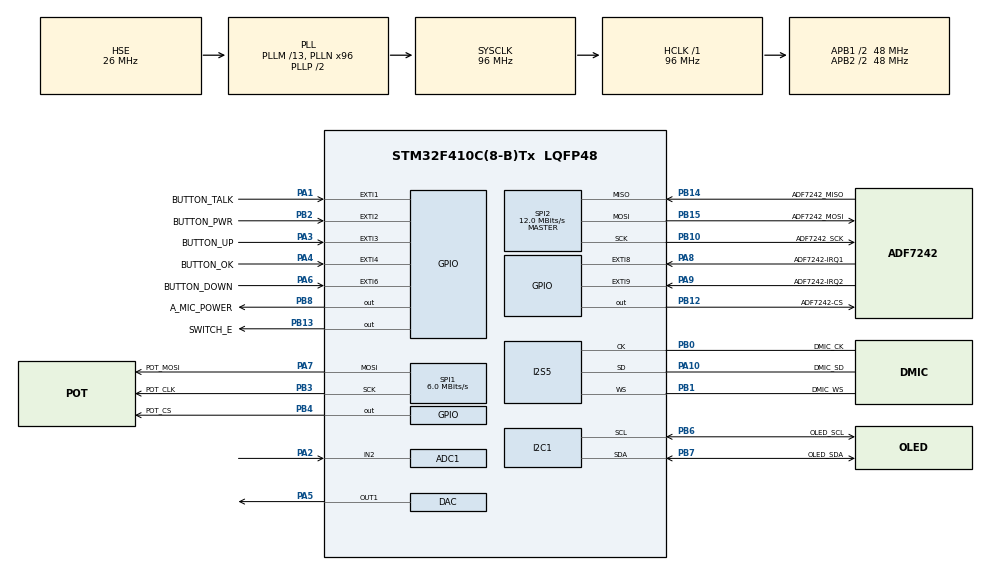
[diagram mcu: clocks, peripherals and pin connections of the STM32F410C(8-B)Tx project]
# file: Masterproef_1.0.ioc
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ADC1.Channel-0\#ChannelRegularConversion=ADC_CHANNEL_2
ADC1.ClockPrescaler=ADC_CLOCK_SYNC_PCLK_DIV2
ADC1.ExternalTrigConv=ADC_EXTERNALTRIGCONV_T5_CC1
ADC1.ExternalTrigConvEdge=ADC_EXTERNALTRIGCONVEDGE_RISING
ADC1.NbrOfConversion=1
ADC1.NbrOfConversionFlag=1
ADC1.Rank-0\#ChannelRegularConversion=1
ADC1.Resolution=ADC_RESOLUTION_8B
ADC1.SamplingTime-0\#ChannelRegularConversion=ADC_SAMPLETIME_3CYCLES
ADC1.master=1
I2C1.I2C_Mode=I2C_Fast
I2S5.ErrorAudioFreq=0.0 %
I2S5.FullDuplexMode=I2S_FULLDUPLEXMODE_DISABLE
I2S5.Instance=SPI$Index
I2S5.RealAudioFreq=8.0 KHz
I2S5.VirtualMode=I2S_MODE_MASTER
Mcu.Family=STM32F4
Mcu.Name=STM32F410C(8-B)Tx
Mcu.Package=LQFP48
NVIC.ADC_IRQn=true\:0\:0\:true\:false\:true\:true\:true
NVIC.EXTI1_IRQn=true\:15\:0\:true\:false\:true\:true\:true
NVIC.EXTI2_IRQn=true\:15\:0\:true\:false\:true\:true\:true
NVIC.EXTI3_IRQn=true\:0\:0\:false\:false\:true\:true\:true
NVIC.EXTI4_IRQn=true\:0\:0\:false\:false\:true\:true\:true
NVIC.EXTI9_5_IRQn=true\:1\:0\:true\:false\:true\:true\:true
NVIC.I2C1_ER_IRQn=true\:0\:0\:false\:false\:true\:true\:true
NVIC.I2C1_EV_IRQn=true\:0\:0\:false\:false\:true\:true\:true
NVIC.PriorityGroup=NVIC_PRIORITYGROUP_4
NVIC.SPI2_IRQn=true\:0\:0\:false\:false\:true\:true\:true
NVIC.TIM1_BRK_TIM9_IRQn=true\:0\:0\:true\:false\:true\:true\:true
NVIC.TIM1_TRG_COM_TIM11_IRQn=true\:1\:0\:true\:false\:true\:true\:true
NVIC.TIM1_UP_IRQn=true\:0\:0\:true\:false\:true\:true\:true
NVIC.TIM5_IRQn=true\:0\:0\:true\:false\:true\:true\:true
NVIC.TIM6_DAC_IRQn=true\:1\:0\:true\:false\:true\:true\:true
PA0-WKUP.Mode=SYS_WakeUp0
PA0-WKUP.Signal=SYS_WKUP1
PA1.GPIO_Label=BUTTON_TALK
PA1.GPIO_ModeDefaultEXTI=GPIO_MODE_IT_RISING_FALLING
PA1.Signal=GPXTI1
PA10.GPIO_Label=DMIC_SD
PA10.Mode=Half_Duplex_Master
PA10.Signal=I2S5_SD
PA2.Signal=ADCx_IN2
PA3.GPIO_Label=BUTTON_UP
PA3.Signal=GPXTI3
PA4.GPIO_Label=BUTTON_OK
PA4.Signal=GPXTI4
PA5.Signal=COMP_DAC1_group
PA6.GPIO_Label=BUTTON_DOWN
PA6.Signal=GPXTI6
PA7.GPIO_Label=POT_MOSI
PA7.Mode=TX_Only_Simplex_Unidirect_Master
PA7.Signal=SPI1_MOSI
PA8.GPIO_Label=ADF7242-IRQ1
PA8.Signal=GPXTI8
PA9.GPIO_Label=ADF7242-IRQ2
PA9.Signal=GPXTI9
PB0.GPIO_Label=DMIC_CK
PB0.Mode=Half_Duplex_Master
PB0.Signal=I2S5_CK
PB1.GPIO_Label=DMIC_WS
PB1.Mode=Half_Duplex_Master
PB1.Signal=I2S5_WS
PB10.GPIO_Label=ADF7242_SCK
PB10.Mode=Full_Duplex_Master
PB10.Signal=SPI2_SCK
PB12.GPIO_Label=ADF7242-CS
PB12.Signal=GPIO_Output
PB13.GPIO_Label=SWITCH_E
PB13.PinState=GPIO_PIN_SET
PB13.Signal=GPIO_Output
PB14.GPIO_Label=ADF7242_MISO
PB14.Mode=Full_Duplex_Master
PB14.Signal=SPI2_MISO
PB15.GPIO_Label=ADF7242_MOSI
PB15.Mode=Full_Duplex_Master
PB15.Signal=SPI2_MOSI
PB2.GPIO_Label=BUTTON_PWR
PB2.GPIO_ModeDefaultEXTI=GPIO_MODE_IT_RISING
PB2.Signal=GPXTI2
PB3.GPIO_Label=POT_CLK
PB3.Mode=TX_Only_Simplex_Unidirect_Master
PB3.Signal=SPI1_SCK
PB4.GPIO_Label=POT_CS
PB4.PinState=GPIO_PIN_SET
PB4.Signal=GPIO_Output
PB6.GPIO_Label=OLED_SCL
PB6.Mode=I2C
PB6.Signal=I2C1_SCL
PB7.GPIO_Label=OLED_SDA
PB7.Mode=I2C
PB7.Signal=I2C1_SDA
PB8.GPIO_Label=A_MIC_POWER
PB8.PinState=GPIO_PIN_SET
PB8.Signal=GPIO_Output
PC14-OSC32_IN.Mode=LSE-External-Oscillator
PC14-OSC32_IN.Signal=RCC_OSC32_IN
PC15-OSC32_OUT.Mode=LSE-External-Oscillator
PC15-OSC32_OUT.Signal=RCC_OSC32_OUT
PH0\ -\ OSC_IN.Mode=HSE-External-Oscillator
PH0\ -\ OSC_IN.Signal=RCC_OSC_IN
PH1\ -\ OSC_OUT.Mode=HSE-External-Oscillator
PH1\ -\ OSC_OUT.Signal=RCC_OSC_OUT
ProjectManager.HeapSize=0x200
ProjectManager.StackSize=0x400
ProjectManager.TargetToolchain=STM32CubeIDE
RCC.48MHZClocksFreq_Value=48000000
RCC.AHBFreq_Value=96000000
RCC.APB1CLKDivider=RCC_HCLK_DIV2
RCC.APB1Freq_Value=48000000
RCC.APB1TimFreq_Value=96000000
RCC.APB2CLKDivider=RCC_HCLK_DIV2
RCC.APB2Freq_Value=48000000
RCC.APB2TimFreq_Value=96000000
RCC.CortexFreq_Value=96000000
RCC.HCLKFreq_Value=96000000
RCC.HSE_VALUE=26000000
RCC.HSI_VALUE=16000000
RCC.PLLM=13
RCC.PLLN=96
RCC.PLLSourceVirtual=RCC_PLLSOURCE_HSE
RCC.RCC_RTC_Clock_Source=RCC_RTCCLKSOURCE_LSE
RCC.RCC_RTC_Clock_SourceVirtual=RCC_RTCCLKSOURCE_LSE
RCC.SYSCLKFreq_VALUE=96000000
RCC.SYSCLKSource=RCC_SYSCLKSOURCE_PLLCLK
RCC.VCOOutputFreq_Value=192000000
RTC.Date=24
RTC.Format=RTC_FORMAT_BIN
RTC.Hours=12
RTC.Minutes=59
RTC.Month=RTC_MONTH_APRIL
RTC.Seconds=0
RTC.WeekDay=RTC_WEEKDAY_FRIDAY
RTC.Year=0
SH.ADCx_IN2.0=ADC1_IN2,IN2
SH.COMP_DAC1_group.0=DAC_OUT1,DAC_OUT1
SPI1.BaudRatePrescaler=SPI_BAUDRATEPRESCALER_8
SPI1.CalculateBaudRate=6.0 MBits/s
SPI1.Direction=SPI_DIRECTION_2LINES
SPI1.Mode=SPI_MODE_MASTER
SPI1.VirtualType=VM_MASTER
SPI2.BaudRatePrescaler=SPI_BAUDRATEPRESCALER_4
SPI2.CalculateBaudRate=12.0 MBits/s
SPI2.Direction=SPI_DIRECTION_2LINES
SPI2.Mode=SPI_MODE_MASTER
SPI2.VirtualType=VM_MASTER
TIM1.Period=12000
TIM1.Prescaler=0
TIM1.TIM_MasterOutputTrigger=TIM_TRGO_UPDATE
TIM11.AutoReloadPreload=TIM_AUTORELOAD_PRELOAD_ENABLE
TIM11.Period=500
TIM11.Prescaler=48000
TIM5.Channel-Output\ Compare1\ No\ Output=TIM_CHANNEL_1
TIM5.OCMode_1=TIM_OCMODE_TOGGLE
TIM5.Period=3000
TIM5.Prescaler=0
TIM5.Pulse-Output\ Compare1\ No\ Output=3000
TIM5.TIM_MasterOutputTrigger=TIM_TRGO_OC1REF
TIM5.TIM_MasterSlaveMode=TIM_MASTERSLAVEMODE_ENABLE
TIM9.AutoReloadPreload=TIM_AUTORELOAD_PRELOAD_ENABLE
TIM9.ClockDivision=TIM_CLOCKDIVISION_DIV1
TIM9.Period=2000
TIM9.Prescaler=48000
VP_CRC_VS_CRC.Mode=CRC_Activate
VP_RTC_VS_RTC_Activate.Mode=RTC_Enabled
VP_RTC_VS_RTC_Calendar.Mode=RTC_Calendar
VP_TIM11_VS_ClockSourceINT.Mode=Enable_Timer
VP_TIM1_VS_ClockSourceINT.Mode=Internal
VP_TIM5_VS_ClockSourceINT.Mode=Internal
VP_TIM5_VS_no_output1.Mode=Output Compare1 No Output
VP_TIM9_VS_ClockSourceINT.Mode=Internal
board=custom

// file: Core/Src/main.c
/* USER CODE BEGIN Header */
/**
  ******************************************************************************
  * @file           : main.c
  * @brief          : Main program body
  ******************************************************************************
  * @attention
  *
  * <h2><center>&copy; Copyright (c) 2019 STMicroelectronics.
  * All rights reserved.</center></h2>
  *
  * This software component is licensed by ST under BSD 3-Clause license,
  * the "License"; You may not use this file except in compliance with the
  * License. You may obtain a copy of the License at:
  *                        opensource.org/licenses/BSD-3-Clause
  *
  ******************************************************************************
  */
/* USER CODE END Header */

#include "main.h"

ADC_HandleTypeDef hadc1;

CRC_HandleTypeDef hcrc;

DAC_HandleTypeDef hdac;

I2C_HandleTypeDef hi2c1;

I2S_HandleTypeDef hi2s5;

RTC_HandleTypeDef hrtc;

SPI_HandleTypeDef hspi1;
SPI_HandleTypeDef hspi2;

TIM_HandleTypeDef htim1;
TIM_HandleTypeDef htim5;
TIM_HandleTypeDef htim9;
TIM_HandleTypeDef htim11;

/* USER CODE BEGIN PV */

RTC_TimeTypeDef sTime;
RTC_DateTypeDef sDate;

/* Default Settings */
char settingsMode = 'R';
uint8_t settingsVolume = 70;					// Potentiometer for volume
uint8_t settingsDataLength = 20;				// Databytes in audio packet
uint8_t settingsResolution = 8;					// 8 or 12 (ADC resolution)
uint8_t settingsEncryption = 1;					// 0 = off, 1 = on
uint32_t settingsFrequency = 245000;			// Frequency in kHz

/* General variables */
uint16_t adcVal;
uint16_t adcValDownSampled;

/* Debug variables */
uint8_t returnValue;
uint32_t counter;
uint32_t Packets_Received;
uint32_t Packets_Send;

//debug
uint8_t KeyCounter;
uint8_t KeyCounterLength = 5;
uint8_t TxKeys[5];
uint8_t RxKeys[5];
uint8_t RxKeysAfterHamming[5];
uint8_t TxRSSIValues[8];
uint8_t TxRSSIMeanValues[8];
uint8_t RxRSSIValues[8];
uint8_t RxRSSIMeanValues[8];
uint32_t TxCounterTable[8];
uint32_t RxCounterTable[8];

/* External interrupts */
uint8_t INT_PACKET_RECEIVED = 0;
uint8_t INT_PACKET_SEND = 0;

/* Tx variables */
cbuf_handle_t Tx_buffer_handle_t;
uint8_t TX_BUFFER_BASE;

/* Rx variables */
cbuf_handle_t Rx_buffer_handle_t;
uint8_t RX_BUFFER_BASE;
uint8_t Rx_Pkt_length;
uint8_t Rx_Pkt_type;
uint8_t Rx_Data_length;
uint8_t Rx_Encryption_byte;
uint8_t Rx_Dummy_byte;
uint8_t Rx_CRC_response;

/* Encryption variables */
uint32_t Tx_RSSI_counter;
uint32_t RSSI_counter;
uint16_t Key_RSSI_Mean;
double Key_RSSI_Mean_Double;
uint32_t Key_32bit_Array[4] = {0xAAAAAAAA, 0xAAAAAAAA, 0xAAAAAAAA, 0xAAAAAAAA};
uint32_t Key_32bit = 0xAAAAAAAA;
uint8_t Key_Start = 0xAA;
uint8_t Key_Current;
uint8_t Key_New;
uint8_t Key_bits;
uint8_t Key_bytes = 0;
uint8_t Key_RSSI_Threshold = 3;
uint8_t Encryption_byte;
uint8_t Key_chosen_wait_timer;
double ALPHA = 0.1;
uint32_t KeyCounter32bit;
uint8_t Key_32bit_Array_Index;

uint32_t Old_Key_32bit;
uint8_t Old_Key_32bit_index;

uint32_t CRC_Tx_value;
uint8_t CRC_Tx_bytes[4];

uint32_t CRC_Rx_value;
uint8_t CRC_Rx_bytes[4];

/* Button states */
static volatile POWER_state = 1;
static volatile TALK_state = 1;
static volatile UP_state = 1;
static volatile DOWN_state = 1;

/* USER CODE END PV */

void SystemClock_Config(void);
static void MX_GPIO_Init(void);
static void MX_DAC_Init(void);
static void MX_I2C1_Init(void);
static void MX_I2S5_Init(void);
static void MX_SPI1_Init(void);
static void MX_SPI2_Init(void);
static void MX_ADC1_Init(void);
static void MX_TIM5_Init(void);
static void MX_TIM1_Init(void);
static void MX_TIM9_Init(void);
static void MX_RTC_Init(void);
static void MX_CRC_Init(void);
static void MX_TIM11_Init(void);
/* USER CODE BEGIN PFP */

void HAL_GPIO_EXTI_Callback(uint16_t);
void HAL_TIM_PeriodElapsedCallback(TIM_HandleTypeDef *);
void HAL_ADC_ConvCpltCallback(ADC_HandleTypeDef *);

/* Basic functions */
void Startup(void);
void Setup();
void Potmeter_Init(uint8_t);

/* Audio functions */
void Play_Audio(void);
void SendPacket8bit(void);
void ReadPacket(void);

/* Encryption functions */
uint8_t ReadKeyPacket(void);
void WriteKeyPacket(void);
uint8_t ReadRSSI(void);
void Hamming_send(uint8_t);
void Hamming_check(uint8_t);
void CRC_send(void);
void CRC_check(void);

/* EEPROM functions */
void Clear_Flash_Sector4(void);
void Write_Flash(uint32_t, uint32_t);

/* USER CODE END PFP */

/* USER CODE BEGIN 0 */

/* Callback external interrupts */
void HAL_GPIO_EXTI_Callback(uint16_t GPIO_Pin)
{
	switch(GPIO_Pin)
	{
		case ADF7242_IRQ1_Pin:
			INT_PACKET_SEND = 1;
			ADF_clear_Tx_flag();
			Packets_Send++;

			break;

		case ADF7242_IRQ2_Pin:
			INT_PACKET_RECEIVED = 1;
			ADF_clear_Rx_flag();
			Packets_Received++;

			break;

		case BUTTON_TALK_Pin:
			if (TALK_state)
			{
				TALK_state = 0;
				HAL_TIM_Base_Start_IT(&htim11);
			}

			break;

		case BUTTON_UP_Pin:
			if (UP_state)
			{
				UP_state = 0;
				HAL_TIM_Base_Start_IT(&htim11);
			}

			break;

		case BUTTON_DOWN_Pin:
			if (DOWN_state)
			{
				DOWN_state = 0;
				HAL_TIM_Base_Start_IT(&htim11);
			}

			break;

		case BUTTON_PWR_Pin:
			if (POWER_state)
			{
				POWER_state = 0;
				HAL_TIM_Base_Start_IT(&htim11);
			}

			break;
	}
}

/* Callback timers */
void HAL_TIM_PeriodElapsedCallback(TIM_HandleTypeDef *htim)
{
	// Play audio samples on DAC
	if (htim->Instance == TIM1)
	{
		Play_Audio();
	}

	// Timer debouncing for external interrupts
	if (htim->Instance == TIM11)
	{
		if (HAL_GPIO_ReadPin(BUTTON_PWR_GPIO_Port, BUTTON_PWR_Pin))
		{
			POWER_state = 1;

			ADF_sleep();

			OLED_shutdown();												// Shutdown OLED display
			HAL_GPIO_WritePin(GPIOB, SWITCH_E_Pin, GPIO_PIN_RESET);			// Shutdown LM386
			HAL_GPIO_WritePin(GPIOB, A_MIC_POWER_Pin, GPIO_PIN_RESET);		// Shutdown the analog microphone

			HAL_DAC_Stop(&hdac, DAC_CHANNEL_1);								// Stop the DAC interface
			HAL_TIM_Base_Stop_IT(&htim1);									// Stop timer 1 (frequency = 8 kHz)

			HAL_TIM_OC_Stop(&htim5, TIM_CHANNEL_1);							// Stop timer 5 (frequency = 16 kHz)
			HAL_ADC_Stop_IT(&hadc1);										// Stop ADC interrupt triggered by timer 5

			HAL_Delay(250);

			HAL_PWR_EnableWakeUpPin(PWR_WAKEUP_PIN1);
			HAL_PWR_EnterSTANDBYMode();

			HAL_TIM_Base_Stop_IT(&htim11);
		}

		if (HAL_GPIO_ReadPin(BUTTON_TALK_GPIO_Port, BUTTON_TALK_Pin))
		{
			TALK_state = 1;

			if (settingsMode == 'R')
			{
				settingsMode = 'T';
			}
			else if (settingsMode == 'T')
			{
				settingsMode = 'R';
			}
			HAL_TIM_Base_Stop_IT(&htim11);

			Setup();
		}

		if (HAL_GPIO_ReadPin(BUTTON_UP_GPIO_Port, BUTTON_UP_Pin))
		{
			UP_state = 1;

			if (settingsMode == 'R')
			{
				Key_RSSI_Threshold = Key_RSSI_Threshold + 1;
				OLED_print_volume(Key_RSSI_Threshold);
				OLED_update();

//				if (settingsVolume < 70)
//				{
//					settingsVolume = settingsVolume + 10;
//					Potmeter_Init(settingsVolume);
//					OLED_print_volume(settingsVolume);
//					OLED_update();
//				}
//				else
//				{
//					OLED_print_volume(settingsVolume);
//					OLED_update();
//				}
			}
			HAL_TIM_Base_Stop_IT(&htim11);
		}

		if (HAL_GPIO_ReadPin(BUTTON_DOWN_GPIO_Port, BUTTON_DOWN_Pin))
		{
			DOWN_state = 1;

			if (settingsMode == 'R')
			{
				Key_RSSI_Threshold = Key_RSSI_Threshold - 1;
				OLED_print_volume(Key_RSSI_Threshold);
				OLED_update();

//				if (settingsVolume > 0)
//				{
//					settingsVolume = settingsVolume - 10;
//					Potmeter_Init(settingsVolume);
//					OLED_print_volume(settingsVolume);
//					OLED_update();
//				}
//				else
//				{
//					OLED_print_volume(settingsVolume);
//					OLED_update();
//				}
			}
			HAL_TIM_Base_Stop_IT(&htim11);
		}
	}

	// Update OLED display
	if (htim->Instance == TIM9)
	{
		/* Update every 3 seconds */
		OLED_print_variable("RSSI mean: ", Key_RSSI_Mean, 0, 26);
		OLED_print_variable("Key bits:", Key_bits, 0, 36);
		OLED_print_hexadecimal("Key:", Key_New, 80, 36);

		OLED_print_date_and_time();

		if (settingsMode == 'T')
		{
			OLED_print_variable("Encryption: ", settingsEncryption, 0, 16);
			OLED_print_stoptalk();
		}
		else if (settingsMode == 'R')
		{
			OLED_print_variable("Encrypted? ", (Rx_Pkt_type>>4 & 0x01), 0, 16);
			OLED_print_talk();
		}

		OLED_update();
	}
}

/* Callback ADC */
void HAL_ADC_ConvCpltCallback(ADC_HandleTypeDef* hadc)
{
	if (counter%2)
	{
		adcVal = HAL_ADC_GetValue(&hadc1);
		counter++;
	}
	else
	{
		adcValDownSampled = HAL_ADC_GetValue(&hadc1);
		adcValDownSampled += adcVal;
		adcValDownSampled /= 2;
		circular_buf_put_overwrite(Tx_buffer_handle_t, adcValDownSampled);
		counter++;
	}
}

/* USER CODE END 0 */

int main(void)
{

  /* MCU Configuration--------------------------------------------------------*/

  /* Reset of all peripherals, Initializes the Flash interface and the Systick. */
  HAL_Init();

  /* Configure the system clock */
  SystemClock_Config();

  /* Initialize all configured peripherals */
  MX_GPIO_Init();
  MX_DAC_Init();
  MX_I2C1_Init();
  MX_I2S5_Init();
  MX_SPI1_Init();
  MX_SPI2_Init();
  MX_ADC1_Init();
  MX_TIM5_Init();
  MX_TIM1_Init();
  MX_TIM9_Init();
  MX_RTC_Init();
  MX_CRC_Init();
  MX_TIM11_Init();
  /* USER CODE BEGIN 2 */

  Startup();

  Clear_Flash_Sector4();

  /* USER CODE END 2 */

  /* Infinite loop */
  /* USER CODE BEGIN WHILE */
  while (1)
  {
	  if (settingsMode == 'T')
	  {
		  // Send audio packet
		  if (circular_buf_size(Tx_buffer_handle_t) > settingsDataLength)
		  {
			  if (settingsResolution == 8)
			  {
				  SendPacket8bit();
			  }
		  }
	  }

	  if (INT_PACKET_RECEIVED){
		  INT_PACKET_RECEIVED = 0;

		  if (settingsMode == 'T')
		  {
			  // Update mean RSSI
			  uint8_t RSSI = ReadKeyPacket();

//			  // Debug
//			  uint32_t address0 = 0x08012000 + (16*(Tx_RSSI_counter-1));
//			  Write_Flash(address0, (uint32_t) RSSI);

			  if (Rx_CRC_response == 0x01)			// CRC correct
			  {
				  // Debug
				  uint32_t address1 = 0x08011000 + (4*(KeyCounter32bit-1));
				  Write_Flash(address1, Key_32bit);
			  }
			  else if (Rx_CRC_response == 0x10)	// CRC not correct
			  {
				  // Update key
				  Key_32bit_Array[Old_Key_32bit_index] = Old_Key_32bit;

				  // Try again
				  KeyCounter32bit--;
			  }

			  if (!Tx_RSSI_counter)
			  {
				  Key_RSSI_Mean_Double = RSSI;
				  Key_RSSI_Mean = round(Key_RSSI_Mean_Double);
			  }
			  else
			  {
				  Key_RSSI_Mean_Double = (ALPHA*RSSI) + ((1-ALPHA)*Key_RSSI_Mean_Double);
			      Key_RSSI_Mean = round(Key_RSSI_Mean_Double);
			  }

//			  // Debug
//			  uint32_t address2 = 0x08016000 + (16*(Tx_RSSI_counter-1));
//			  Write_Flash(address2, (uint32_t) Key_RSSI_Mean);

			  Tx_RSSI_counter++;

			  if (Key_bytes == 4)
			  {
				  // Index
				  Key_32bit_Array_Index = KeyCounter32bit % 4;

				  // Save old 32bit key
				  Old_Key_32bit_index = Key_32bit_Array_Index;
				  Old_Key_32bit = Key_32bit_Array[Old_Key_32bit_index];

				  // Update key
				  Key_32bit_Array[Key_32bit_Array_Index] = Key_32bit;

				  CRC_send();

				  KeyCounter32bit++;
				  Key_bytes = 0;
			  }
			  else if (Key_bits == 8)	// Hamming check every 8 bits
			  {
				  Hamming_send(Key_New);
				  Key_Current = Key_New;

				  Key_32bit = (Key_32bit<<8) | Key_New;

				  Key_New = 0;
				  Key_bits = 0;
				  Key_bytes++;
			  }
			  else	// Choose key bit
			  {
				  if (Tx_RSSI_counter > 100)						// Wait for 100 RSSI values
				  {
					  if (Key_chosen_wait_timer == 0)
					  {
						  if (RSSI < (Key_RSSI_Mean - Key_RSSI_Threshold))
						  {
							  if (Key_bits<8)
							  {
								  Key_New = (Key_New<<1) | 0;
								  Key_bits++;
								  Encryption_byte = 1;

								  Key_chosen_wait_timer = 8;		// Wait to choose new key bit

							  }
						  }
						  else if (RSSI > (Key_RSSI_Mean + Key_RSSI_Threshold))
						  {
							  if (Key_bits<8)
							  {
								  Key_New = (Key_New<<1) | 1;
								  Key_bits++;
								  Encryption_byte = 1;

								  Key_chosen_wait_timer = 8;		// Wait to choose new key bit
							  }
						  }
					  }
					  else
					  {
						  Key_chosen_wait_timer--;
					  }
				  }
			  }
		  }
	  }

	  if (INT_PACKET_SEND){
		  INT_PACKET_SEND = 0;

		  if (settingsMode == 'R')
		  {
			  WriteKeyPacket();
			  ADF_set_Rx_mode();

			  ReadPacket();
		  }
	  }
    /* USER CODE END WHILE */

  }
}

void SystemClock_Config(void)
{
  RCC_OscInitTypeDef RCC_OscInitStruct = {0};
  RCC_ClkInitTypeDef RCC_ClkInitStruct = {0};
  RCC_PeriphCLKInitTypeDef PeriphClkInitStruct = {0};

  /** Configure the main internal regulator output voltage
  */
  __HAL_RCC_PWR_CLK_ENABLE();
  __HAL_PWR_VOLTAGESCALING_CONFIG(PWR_REGULATOR_VOLTAGE_SCALE1);
  /** Initializes the CPU, AHB and APB busses clocks
  */
  RCC_OscInitStruct.OscillatorType = RCC_OSCILLATORTYPE_HSE|RCC_OSCILLATORTYPE_LSE;
  RCC_OscInitStruct.HSEState = RCC_HSE_ON;
  RCC_OscInitStruct.LSEState = RCC_LSE_ON;
  RCC_OscInitStruct.PLL.PLLState = RCC_PLL_ON;
  RCC_OscInitStruct.PLL.PLLSource = RCC_PLLSOURCE_HSE;
  RCC_OscInitStruct.PLL.PLLM = 13;
  RCC_OscInitStruct.PLL.PLLN = 96;
  RCC_OscInitStruct.PLL.PLLP = RCC_PLLP_DIV2;
  RCC_OscInitStruct.PLL.PLLQ = 4;
  RCC_OscInitStruct.PLL.PLLR = 2;
  if (HAL_RCC_OscConfig(&RCC_OscInitStruct) != HAL_OK)
  {
    Error_Handler();
  }
  /** Initializes the CPU, AHB and APB busses clocks
  */
  RCC_ClkInitStruct.ClockType = RCC_CLOCKTYPE_HCLK|RCC_CLOCKTYPE_SYSCLK
                              |RCC_CLOCKTYPE_PCLK1|RCC_CLOCKTYPE_PCLK2;
  RCC_ClkInitStruct.SYSCLKSource = RCC_SYSCLKSOURCE_PLLCLK;
  RCC_ClkInitStruct.AHBCLKDivider = RCC_SYSCLK_DIV1;
  RCC_ClkInitStruct.APB1CLKDivider = RCC_HCLK_DIV2;
  RCC_ClkInitStruct.APB2CLKDivider = RCC_HCLK_DIV2;

  if (HAL_RCC_ClockConfig(&RCC_ClkInitStruct, FLASH_LATENCY_3) != HAL_OK)
  {
    Error_Handler();
  }
  PeriphClkInitStruct.PeriphClockSelection = RCC_PERIPHCLK_I2S|RCC_PERIPHCLK_RTC;
  PeriphClkInitStruct.RTCClockSelection = RCC_RTCCLKSOURCE_LSE;
  PeriphClkInitStruct.I2SClockSelection = RCC_I2SAPBCLKSOURCE_PLLR;
  if (HAL_RCCEx_PeriphCLKConfig(&PeriphClkInitStruct) != HAL_OK)
  {
    Error_Handler();
  }
}

static void MX_ADC1_Init(void)
{

  ADC_ChannelConfTypeDef sConfig = {0};

  /** Configure the global features of the ADC (Clock, Resolution, Data Alignment and number of conversion)
  */
  hadc1.Instance = ADC1;
  hadc1.Init.ClockPrescaler = ADC_CLOCK_SYNC_PCLK_DIV2;
  hadc1.Init.Resolution = ADC_RESOLUTION_8B;
  hadc1.Init.ScanConvMode = DISABLE;
  hadc1.Init.ContinuousConvMode = DISABLE;
  hadc1.Init.DiscontinuousConvMode = DISABLE;
  hadc1.Init.ExternalTrigConvEdge = ADC_EXTERNALTRIGCONVEDGE_RISING;
  hadc1.Init.ExternalTrigConv = ADC_EXTERNALTRIGCONV_T5_CC1;
  hadc1.Init.DataAlign = ADC_DATAALIGN_RIGHT;
  hadc1.Init.NbrOfConversion = 1;
  hadc1.Init.DMAContinuousRequests = DISABLE;
  hadc1.Init.EOCSelection = ADC_EOC_SINGLE_CONV;
  if (HAL_ADC_Init(&hadc1) != HAL_OK)
  {
    Error_Handler();
  }
  /** Configure for the selected ADC regular channel its corresponding rank in the sequencer and its sample time.
  */
  sConfig.Channel = ADC_CHANNEL_2;
  sConfig.Rank = 1;
  sConfig.SamplingTime = ADC_SAMPLETIME_3CYCLES;
  if (HAL_ADC_ConfigChannel(&hadc1, &sConfig) != HAL_OK)
  {
    Error_Handler();
  }

}

static void MX_CRC_Init(void)
{

  hcrc.Instance = CRC;
  if (HAL_CRC_Init(&hcrc) != HAL_OK)
  {
    Error_Handler();
  }

}

static void MX_DAC_Init(void)
{

  DAC_ChannelConfTypeDef sConfig = {0};

  /** DAC Initialization
  */
  hdac.Instance = DAC;
  if (HAL_DAC_Init(&hdac) != HAL_OK)
  {
    Error_Handler();
  }
  /** DAC channel OUT1 config
  */
  sConfig.DAC_Trigger = DAC_TRIGGER_NONE;
  sConfig.DAC_OutputBuffer = DAC_OUTPUTBUFFER_ENABLE;
  if (HAL_DAC_ConfigChannel(&hdac, &sConfig, DAC_CHANNEL_1) != HAL_OK)
  {
    Error_Handler();
  }

}

static void MX_I2C1_Init(void)
{

  hi2c1.Instance = I2C1;
  hi2c1.Init.ClockSpeed = 400000;
  hi2c1.Init.DutyCycle = I2C_DUTYCYCLE_2;
  hi2c1.Init.OwnAddress1 = 0;
  hi2c1.Init.AddressingMode = I2C_ADDRESSINGMODE_7BIT;
  hi2c1.Init.DualAddressMode = I2C_DUALADDRESS_DISABLE;
  hi2c1.Init.OwnAddress2 = 0;
  hi2c1.Init.GeneralCallMode = I2C_GENERALCALL_DISABLE;
  hi2c1.Init.NoStretchMode = I2C_NOSTRETCH_DISABLE;
  if (HAL_I2C_Init(&hi2c1) != HAL_OK)
  {
    Error_Handler();
  }

}

static void MX_I2S5_Init(void)
{

  hi2s5.Instance = SPI5;
  hi2s5.Init.Mode = I2S_MODE_MASTER_TX;
  hi2s5.Init.Standard = I2S_STANDARD_PHILIPS;
  hi2s5.Init.DataFormat = I2S_DATAFORMAT_16B;
  hi2s5.Init.MCLKOutput = I2S_MCLKOUTPUT_DISABLE;
  hi2s5.Init.AudioFreq = I2S_AUDIOFREQ_8K;
  hi2s5.Init.CPOL = I2S_CPOL_LOW;
  hi2s5.Init.ClockSource = I2S_CLOCK_PLLR;
  hi2s5.Init.FullDuplexMode = I2S_FULLDUPLEXMODE_DISABLE;
  if (HAL_I2S_Init(&hi2s5) != HAL_OK)
  {
    Error_Handler();
  }

}

static void MX_RTC_Init(void)
{

  RTC_TimeTypeDef sTime = {0};
  RTC_DateTypeDef sDate = {0};

  /** Initialize RTC Only
  */
  hrtc.Instance = RTC;
  hrtc.Init.HourFormat = RTC_HOURFORMAT_24;
  hrtc.Init.AsynchPrediv = 127;
  hrtc.Init.SynchPrediv = 255;
  hrtc.Init.OutPut = RTC_OUTPUT_DISABLE;
  hrtc.Init.OutPutPolarity = RTC_OUTPUT_POLARITY_HIGH;
  hrtc.Init.OutPutType = RTC_OUTPUT_TYPE_OPENDRAIN;
  if (HAL_RTC_Init(&hrtc) != HAL_OK)
  {
    Error_Handler();
  }

  /** Initialize RTC and set the Time and Date
  */
  sTime.Hours = 12;
  sTime.Minutes = 59;
  sTime.Seconds = 0;
  sTime.DayLightSaving = RTC_DAYLIGHTSAVING_NONE;
  sTime.StoreOperation = RTC_STOREOPERATION_RESET;
  if (HAL_RTC_SetTime(&hrtc, &sTime, RTC_FORMAT_BIN) != HAL_OK)
  {
    Error_Handler();
  }
  sDate.WeekDay = RTC_WEEKDAY_FRIDAY;
  sDate.Month = RTC_MONTH_APRIL;
  sDate.Date = 24;
  sDate.Year = 0;

  if (HAL_RTC_SetDate(&hrtc, &sDate, RTC_FORMAT_BIN) != HAL_OK)
  {
    Error_Handler();
  }

}

static void MX_SPI1_Init(void)
{

  /* SPI1 parameter configuration*/
  hspi1.Instance = SPI1;
  hspi1.Init.Mode = SPI_MODE_MASTER;
  hspi1.Init.Direction = SPI_DIRECTION_2LINES;
  hspi1.Init.DataSize = SPI_DATASIZE_8BIT;
  hspi1.Init.CLKPolarity = SPI_POLARITY_LOW;
  hspi1.Init.CLKPhase = SPI_PHASE_1EDGE;
  hspi1.Init.NSS = SPI_NSS_SOFT;
  hspi1.Init.BaudRatePrescaler = SPI_BAUDRATEPRESCALER_8;
  hspi1.Init.FirstBit = SPI_FIRSTBIT_MSB;
  hspi1.Init.TIMode = SPI_TIMODE_DISABLE;
  hspi1.Init.CRCCalculation = SPI_CRCCALCULATION_DISABLE;
  hspi1.Init.CRCPolynomial = 15;
  if (HAL_SPI_Init(&hspi1) != HAL_OK)
  {
    Error_Handler();
  }

}

static void MX_SPI2_Init(void)
{

  /* SPI2 parameter configuration*/
  hspi2.Instance = SPI2;
  hspi2.Init.Mode = SPI_MODE_MASTER;
  hspi2.Init.Direction = SPI_DIRECTION_2LINES;
  hspi2.Init.DataSize = SPI_DATASIZE_8BIT;
  hspi2.Init.CLKPolarity = SPI_POLARITY_LOW;
  hspi2.Init.CLKPhase = SPI_PHASE_1EDGE;
  hspi2.Init.NSS = SPI_NSS_SOFT;
  hspi2.Init.BaudRatePrescaler = SPI_BAUDRATEPRESCALER_4;
  hspi2.Init.FirstBit = SPI_FIRSTBIT_MSB;
  hspi2.Init.TIMode = SPI_TIMODE_DISABLE;
  hspi2.Init.CRCCalculation = SPI_CRCCALCULATION_DISABLE;
  hspi2.Init.CRCPolynomial = 15;
  if (HAL_SPI_Init(&hspi2) != HAL_OK)
  {
    Error_Handler();
  }

}

static void MX_TIM1_Init(void)
{

  TIM_ClockConfigTypeDef sClockSourceConfig = {0};
  TIM_MasterConfigTypeDef sMasterConfig = {0};

  htim1.Instance = TIM1;
  htim1.Init.Prescaler = 0;
  htim1.Init.CounterMode = TIM_COUNTERMODE_UP;
  htim1.Init.Period = 12000;
  htim1.Init.ClockDivision = TIM_CLOCKDIVISION_DIV1;
  htim1.Init.RepetitionCounter = 0;
  htim1.Init.AutoReloadPreload = TIM_AUTORELOAD_PRELOAD_DISABLE;
  if (HAL_TIM_Base_Init(&htim1) != HAL_OK)
  {
    Error_Handler();
  }
  sClockSourceConfig.ClockSource = TIM_CLOCKSOURCE_INTERNAL;
  if (HAL_TIM_ConfigClockSource(&htim1, &sClockSourceConfig) != HAL_OK)
  {
    Error_Handler();
  }
  sMasterConfig.MasterOutputTrigger = TIM_TRGO_UPDATE;
  sMasterConfig.MasterSlaveMode = TIM_MASTERSLAVEMODE_DISABLE;
  if (HAL_TIMEx_MasterConfigSynchronization(&htim1, &sMasterConfig) != HAL_OK)
  {
    Error_Handler();
  }

}

static void MX_TIM5_Init(void)
{

  TIM_ClockConfigTypeDef sClockSourceConfig = {0};
  TIM_MasterConfigTypeDef sMasterConfig = {0};
  TIM_OC_InitTypeDef sConfigOC = {0};

  htim5.Instance = TIM5;
  htim5.Init.Prescaler = 0;
  htim5.Init.CounterMode = TIM_COUNTERMODE_UP;
  htim5.Init.Period = 3000;
  htim5.Init.ClockDivision = TIM_CLOCKDIVISION_DIV1;
  htim5.Init.AutoReloadPreload = TIM_AUTORELOAD_PRELOAD_DISABLE;
  if (HAL_TIM_Base_Init(&htim5) != HAL_OK)
  {
    Error_Handler();
  }
  sClockSourceConfig.ClockSource = TIM_CLOCKSOURCE_INTERNAL;
  if (HAL_TIM_ConfigClockSource(&htim5, &sClockSourceConfig) != HAL_OK)
  {
    Error_Handler();
  }
  if (HAL_TIM_OC_Init(&htim5) != HAL_OK)
  {
    Error_Handler();
  }
  sMasterConfig.MasterOutputTrigger = TIM_TRGO_OC1REF;
  sMasterConfig.MasterSlaveMode = TIM_MASTERSLAVEMODE_ENABLE;
  if (HAL_TIMEx_MasterConfigSynchronization(&htim5, &sMasterConfig) != HAL_OK)
  {
    Error_Handler();
  }
  sConfigOC.OCMode = TIM_OCMODE_TOGGLE;
  sConfigOC.Pulse = 3000;
  sConfigOC.OCPolarity = TIM_OCPOLARITY_HIGH;
  sConfigOC.OCFastMode = TIM_OCFAST_DISABLE;
  if (HAL_TIM_OC_ConfigChannel(&htim5, &sConfigOC, TIM_CHANNEL_1) != HAL_OK)
  {
    Error_Handler();
  }

}

static void MX_TIM9_Init(void)
{

  TIM_ClockConfigTypeDef sClockSourceConfig = {0};

  htim9.Instance = TIM9;
  htim9.Init.Prescaler = 48000;
  htim9.Init.CounterMode = TIM_COUNTERMODE_UP;
  htim9.Init.Period = 2000;
  htim9.Init.ClockDivision = TIM_CLOCKDIVISION_DIV1;
  htim9.Init.AutoReloadPreload = TIM_AUTORELOAD_PRELOAD_ENABLE;
  if (HAL_TIM_Base_Init(&htim9) != HAL_OK)
  {
    Error_Handler();
  }
  sClockSourceConfig.ClockSource = TIM_CLOCKSOURCE_INTERNAL;
  if (HAL_TIM_ConfigClockSource(&htim9, &sClockSourceConfig) != HAL_OK)
  {
    Error_Handler();
  }

}

static void MX_TIM11_Init(void)
{

  htim11.Instance = TIM11;
  htim11.Init.Prescaler = 48000;
  htim11.Init.CounterMode = TIM_COUNTERMODE_UP;
  htim11.Init.Period = 500;
  htim11.Init.ClockDivision = TIM_CLOCKDIVISION_DIV1;
  htim11.Init.AutoReloadPreload = TIM_AUTORELOAD_PRELOAD_ENABLE;
  if (HAL_TIM_Base_Init(&htim11) != HAL_OK)
  {
    Error_Handler();
  }

}

static void MX_GPIO_Init(void)
{
  GPIO_InitTypeDef GPIO_InitStruct = {0};

  /* GPIO Ports Clock Enable */
  __HAL_RCC_GPIOC_CLK_ENABLE();
  __HAL_RCC_GPIOH_CLK_ENABLE();
  __HAL_RCC_GPIOA_CLK_ENABLE();
  __HAL_RCC_GPIOB_CLK_ENABLE();

  /*Configure GPIO pin Output Level */
  HAL_GPIO_WritePin(ADF7242_CS_GPIO_Port, ADF7242_CS_Pin, GPIO_PIN_RESET);

  /*Configure GPIO pin Output Level */
  HAL_GPIO_WritePin(GPIOB, SWITCH_E_Pin|POT_CS_Pin|A_MIC_POWER_Pin, GPIO_PIN_SET);

  /*Configure GPIO pin : BUTTON_TALK_Pin */
  GPIO_InitStruct.Pin = BUTTON_TALK_Pin;
  GPIO_InitStruct.Mode = GPIO_MODE_IT_RISING_FALLING;
  GPIO_InitStruct.Pull = GPIO_NOPULL;
  HAL_GPIO_Init(BUTTON_TALK_GPIO_Port, &GPIO_InitStruct);

  /*Configure GPIO pins : BUTTON_UP_Pin BUTTON_OK_Pin BUTTON_DOWN_Pin ADF7242_IRQ1_Pin
                           ADF7242_IRQ2_Pin */
  GPIO_InitStruct.Pin = BUTTON_UP_Pin|BUTTON_OK_Pin|BUTTON_DOWN_Pin|ADF7242_IRQ1_Pin
                          |ADF7242_IRQ2_Pin;
  GPIO_InitStruct.Mode = GPIO_MODE_IT_RISING;
  GPIO_InitStruct.Pull = GPIO_NOPULL;
  HAL_GPIO_Init(GPIOA, &GPIO_InitStruct);

  /*Configure GPIO pin : BUTTON_PWR_Pin */
  GPIO_InitStruct.Pin = BUTTON_PWR_Pin;
  GPIO_InitStruct.Mode = GPIO_MODE_IT_RISING;
  GPIO_InitStruct.Pull = GPIO_NOPULL;
  HAL_GPIO_Init(BUTTON_PWR_GPIO_Port, &GPIO_InitStruct);

  /*Configure GPIO pins : ADF7242_CS_Pin SWITCH_E_Pin POT_CS_Pin A_MIC_POWER_Pin */
  GPIO_InitStruct.Pin = ADF7242_CS_Pin|SWITCH_E_Pin|POT_CS_Pin|A_MIC_POWER_Pin;
  GPIO_InitStruct.Mode = GPIO_MODE_OUTPUT_PP;
  GPIO_InitStruct.Pull = GPIO_NOPULL;
  GPIO_InitStruct.Speed = GPIO_SPEED_FREQ_LOW;
  HAL_GPIO_Init(GPIOB, &GPIO_InitStruct);

  /* EXTI interrupt init*/
  HAL_NVIC_SetPriority(EXTI1_IRQn, 15, 0);
  HAL_NVIC_EnableIRQ(EXTI1_IRQn);

  HAL_NVIC_SetPriority(EXTI2_IRQn, 15, 0);
  HAL_NVIC_EnableIRQ(EXTI2_IRQn);

  HAL_NVIC_SetPriority(EXTI3_IRQn, 0, 0);
  HAL_NVIC_EnableIRQ(EXTI3_IRQn);

  HAL_NVIC_SetPriority(EXTI4_IRQn, 0, 0);
  HAL_NVIC_EnableIRQ(EXTI4_IRQn);

  HAL_NVIC_SetPriority(EXTI9_5_IRQn, 1, 0);
  HAL_NVIC_EnableIRQ(EXTI9_5_IRQn);

}

/* USER CODE BEGIN 4 */

void Startup(void)
{
	/* Clear PWR wake up Flag */
	HAL_PWR_DisableWakeUpPin(PWR_WAKEUP_PIN1);
	__HAL_PWR_CLEAR_FLAG(PWR_FLAG_WU);
	__HAL_PWR_CLEAR_FLAG(PWR_FLAG_SB);

	/* Welcome screen */
	OLED_init();
	OLED_print_text("Jelle's", 39, 16);
	OLED_print_text("Walkie Talkie", 18, 26);
	OLED_update();
	HAL_Delay(1000);

	/* OLED settings */
	OLED_clear_screen();

	/* RTC time */
	OLED_print_date_and_time();

	/* potentiometer settings */
	Potmeter_Init(settingsVolume);
	OLED_print_volume(Key_RSSI_Threshold);
	OLED_update();

	ADF_Init(settingsFrequency);

	/* Setup */
	Setup();
}

void Setup()
{
	if (settingsEncryption)
	{
		Key_Current = Key_Start;

		if (settingsMode == 'R')
		{
			WriteKeyPacket();
		}
	}

	switch(settingsMode)
	{
		case 'T':
			OLED_print_text("Tx", 0, 0);
			OLED_print_stoptalk();
			OLED_update();

			/* Reverse HAL audio settings for Rx mode */
			HAL_DAC_Stop(&hdac, DAC_CHANNEL_1);										// Stop the DAC interface
			HAL_TIM_Base_Stop_IT(&htim1);											// Stop timer 1 (frequency = 8 kHz)

			/* ADF settings */
			ADF_set_turnaround_Tx_Rx();

			/* Power settings */
			HAL_GPIO_WritePin(GPIOB, SWITCH_E_Pin, GPIO_PIN_RESET);					// Shutdown LM386 to prevent power consumption
			HAL_GPIO_WritePin(GPIOB, A_MIC_POWER_Pin, GPIO_PIN_SET);				// Enable the analog microphone

			/* Buffer Settings for Tx mode */
			uint16_t Tx_buffer_size = 400;
			uint16_t *Tx_buffer = malloc(Tx_buffer_size * sizeof(uint16_t));		// Tx_buffer with size of 400 bytes
			Tx_buffer_handle_t = circular_buf_init(Tx_buffer, Tx_buffer_size);		// Tx buffer handle type

			/* HAL audio settings for Tx mode */
			HAL_TIM_OC_Start(&htim5, TIM_CHANNEL_1);								// Start timer 5 (frequency = 16 kHz)
			HAL_ADC_Start_IT(&hadc1);												// Start ADC interrupt triggered by timer 5

			break;

		case 'R':
			OLED_print_text("Rx", 0, 0);
			OLED_print_talk();
			OLED_update();

			/* Reverse HAL audio settings for Tx mode */
			HAL_TIM_OC_Stop(&htim5, TIM_CHANNEL_1);									// Stop timer 5 (frequency = 16 kHz)
			HAL_ADC_Stop_IT(&hadc1);												// Stop ADC interrupt triggered by timer 5

			/* ADF settings */
			ADF_set_turnaround_Rx_Tx();

			/* Power settings */
			HAL_GPIO_WritePin(GPIOB, A_MIC_POWER_Pin, GPIO_PIN_RESET);				// Shutdown the analog microphone to prevent power consumption
			HAL_GPIO_WritePin(GPIOB, SWITCH_E_Pin, GPIO_PIN_SET);					// Enable the LM386

			/* Buffer Settings for Rx mode */
			uint16_t Rx_buffer_size = 400;
			uint16_t *Rx_buffer = malloc(Rx_buffer_size * sizeof(uint16_t));		// Rx_buffer with size of 400 bytes = 5 packets
			Rx_buffer_handle_t = circular_buf_init(Rx_buffer, Rx_buffer_size);		// Rx buffer handle type

			/* HAL audio settings for Rx mode */
			HAL_DAC_Start(&hdac, DAC_CHANNEL_1);									// Start the DAC interface
			HAL_TIM_Base_Start_IT(&htim1);											// Start timer 1 (frequency = 8 kHz)

			/* Rx mode */
			ADF_set_Rx_mode();														// Rx mode

			break;
	}
}

void Potmeter_Init(uint8_t volume)
{
	uint8_t value[1];
	value[0]= volume;
	HAL_GPIO_WritePin(GPIOB, POT_CS_Pin, GPIO_PIN_RESET);
	HAL_SPI_Transmit(&hspi1, value, 1, 50);
	HAL_GPIO_WritePin(GPIOB, POT_CS_Pin, GPIO_PIN_SET);
}

void Play_Audio(void)
{
	uint16_t sample;

	uint16_t size = circular_buf_size(Rx_buffer_handle_t);
	if (size != 0)
	{
		if (settingsResolution == 8)
		{
			returnValue = circular_buf_get(Rx_buffer_handle_t, &sample);
			HAL_DAC_SetValue(&hdac, DAC_CHANNEL_1, DAC_ALIGN_8B_R, sample);
		}
		else if (settingsResolution == 12)
		{
			returnValue = circular_buf_get(Rx_buffer_handle_t, &sample);
			HAL_DAC_SetValue(&hdac, DAC_CHANNEL_1, DAC_ALIGN_12B_R, sample);
		}
	}
}

void SendPacket8bit(void)
{
	uint8_t PacketTotalLength = settingsDataLength + 5;

	if (Encryption_byte == 0x10)
	{
		PacketTotalLength = PacketTotalLength + 4;		// 4 extra bytes with CRC check
	}

	uint8_t header[] = {0x10, PacketTotalLength, 0x18, settingsDataLength};

	HAL_GPIO_WritePin(ADF7242_CS_GPIO_Port, ADF7242_CS_Pin, GPIO_PIN_RESET);
	HAL_SPI_Transmit_IT(&hspi2, header, 4);

	if (settingsEncryption)
	{
		// Write 40 audio samples to transceiver
		for (int i=0; i<settingsDataLength; i++)
		{
			uint8_t encryptedSample[1];
			returnValue = circular_buf_get(Tx_buffer_handle_t, &encryptedSample);
			encryptedSample[0] = encryptedSample[0] ^ Key_Current;

			HAL_SPI_Transmit_IT(&hspi2, encryptedSample, 1);
		}
	}
	else
	{
		// Write 40 audio samples to transceiver
		for (int i=0; i<settingsDataLength; i++)
		{
			uint8_t sample[1];
			returnValue = circular_buf_get(Tx_buffer_handle_t, &sample);

			HAL_SPI_Transmit_IT(&hspi2, sample, 1);
		}
	}

	HAL_SPI_Transmit_IT(&hspi2, &Encryption_byte, 1);

	if (Encryption_byte == 0x10)
	{
		HAL_SPI_Transmit_IT(&hspi2, CRC_Tx_bytes, 4);
	}

	HAL_GPIO_WritePin(ADF7242_CS_GPIO_Port, ADF7242_CS_Pin, GPIO_PIN_SET);

	ADF_set_Tx_mode();

//	if (Encryption_byte >= 240)
//	{
//		TxKeys[KeyCounter] = Key_Current;
//		KeyCounter++;
//
//		if (KeyCounter == KeyCounterLength)
//		{
//			for (int i=0; i<KeyCounterLength; i++)
//			{
//				OLED_print_hexadecimal("", TxKeys[i], 0 + (20*i), 20);
//
////				for (int i=0; i<8; i++)
////				{
////					OLED_print_hexadecimal("", TxRSSIValues[i], 0 + (16*i), 30);
////					OLED_print_hexadecimal("", TxRSSIMeanValues[i], 0 + (16*i), 40);
////				}
//			}
//			OLED_update();
//		}
//
////		OLED_print_variable("RSSI mean: ", Key_RSSI_Mean, 0, 26);
////		OLED_print_hexadecimal("Key:", Key_Current, 0, 36);
////		OLED_update();
//	}

	Encryption_byte = 0;
}

void ReadPacket(void)
{
	Rx_CRC_response = 0x00;

	uint8_t bytes[] = {0x30, 0xff};
	uint8_t Rx_RSSI;

	HAL_GPIO_WritePin(ADF7242_CS_GPIO_Port, ADF7242_CS_Pin, GPIO_PIN_RESET);

	HAL_SPI_Transmit_IT(&hspi2, bytes, 2);

	HAL_SPI_Receive_IT(&hspi2, &Rx_Pkt_length, 1);
	HAL_SPI_Receive_IT(&hspi2, &Rx_Pkt_type, 1);
	HAL_SPI_Receive_IT(&hspi2, &Rx_Data_length, 1);

	uint8_t Rx_data[Rx_Data_length];
	HAL_SPI_Receive_IT(&hspi2, &Rx_data, Rx_Data_length);

	HAL_SPI_Receive_IT(&hspi2, &Rx_Encryption_byte, 1);

	if (Rx_Encryption_byte == 0x10)
	{
		HAL_SPI_Receive_IT(&hspi2, &CRC_Rx_bytes, 4);
	}

	HAL_SPI_Receive_IT(&hspi2, &Rx_RSSI, 1);

	HAL_GPIO_WritePin(ADF7242_CS_GPIO_Port, ADF7242_CS_Pin, GPIO_PIN_SET);

	while (ADF_SPI_READY() == 0);

//	// Debug
//	uint32_t address0 = 0x08012000 + (4*(RSSI_counter-1));
//	Write_Flash(address0, (uint32_t) Rx_RSSI);

	// Update RSSI mean
	if (!RSSI_counter)
	{
		Key_RSSI_Mean_Double = Rx_RSSI;
		Key_RSSI_Mean = round(Key_RSSI_Mean_Double);
	}
	else
	{
		Key_RSSI_Mean_Double = (ALPHA*Rx_RSSI) + ((1-ALPHA)*Key_RSSI_Mean_Double);
		Key_RSSI_Mean = round(Key_RSSI_Mean_Double);
	}

//	// Debug
//	uint32_t address1 = 0x08016000 + (4*(RSSI_counter-1));
//	Write_Flash(address1, (uint32_t) Key_RSSI_Mean);

	RSSI_counter++;

	if ((Rx_Pkt_type == 0x18) || (Rx_Pkt_type == 0x1c))			// Audio packet
	{
		uint8_t decryptedSample;

		// Decryption + Write packet to buffer
		for (int i=0; i<Rx_Data_length; i++)
		{
			decryptedSample = Rx_data[i] ^ Key_Current;
			circular_buf_put_overwrite(Rx_buffer_handle_t, decryptedSample);
		}
	}
	else
	{
		// Write packet to buffer
		for (int i=0; i<Rx_Data_length; i++)
		{
			circular_buf_put_overwrite(Rx_buffer_handle_t, Rx_data[i]);
		}
	}

	// Key bit chosen by transmitter
	if (Rx_Encryption_byte == 0x01)
	{
		if (Rx_RSSI <= Key_RSSI_Mean)
		{
			if (Key_bits < 8)
			{
				//debug
				RxRSSIValues[Key_bits] = Rx_RSSI;
				RxRSSIMeanValues[Key_bits] = Key_RSSI_Mean;
				RxCounterTable[Key_bits] = RSSI_counter;

				Key_New = (Key_New<<1) | 0;
				Key_bits++;
			}
		}
		else if (Rx_RSSI > Key_RSSI_Mean)
		{
			if (Key_bits < 8)
			{
				//debug
				RxRSSIValues[Key_bits] = Rx_RSSI;
				RxRSSIMeanValues[Key_bits] = Key_RSSI_Mean;
				RxCounterTable[Key_bits] = RSSI_counter;

				Key_New = (Key_New<<1) | 1;
				Key_bits++;
			}
		}
	}
	// CRC
	else if (Rx_Encryption_byte == 0x10)
	{
		for (int i=0; i < 4; i++)
		{
			CRC_Rx_value = (CRC_Rx_value << 8) | CRC_Rx_bytes[i];
		}

		CRC_check();
	}
	// Hamming packet send by transmitter
	else if (Rx_Encryption_byte >= 240)
	{
		RxKeys[KeyCounter] = Key_New;

		Hamming_check(Rx_Encryption_byte & 0x0F);
		Rx_Encryption_byte = 0;

		Key_Current = Key_New;

		Key_32bit = (Key_32bit<<8) | Key_New;
		Key_bytes++;

		RxKeysAfterHamming[KeyCounter] = Key_Current;
		KeyCounter++;

		if (Key_bytes == 4)
		{
			// Index
			Key_32bit_Array_Index = KeyCounter32bit % 4;

			// Save old 32bit key
			Old_Key_32bit_index = Key_32bit_Array_Index;
			Old_Key_32bit = Key_32bit_Array[Old_Key_32bit_index];

			// Update key
			Key_32bit_Array[Key_32bit_Array_Index] = Key_32bit;

			KeyCounter32bit++;
			Key_bytes = 0;
		}

//		if (KeyCounter == KeyCounterLength)
//		{
//			for (int i=0; i<KeyCounterLength; i++)
//			{
//				OLED_print_hexadecimal("", RxKeys[i], 0 + (20*i), 20);
//				OLED_print_hexadecimal("", RxKeysAfterHamming[i], 0 + (20*i), 30);
//
////				for (int i=0; i<8; i++)
////				{
////					OLED_print_hexadecimal("", RxRSSIValues[i], 0 + (16*i), 30);
////					OLED_print_hexadecimal("", RxRSSIMeanValues[i], 0 + (16*i), 40);
////				}
//			}
//			OLED_update();
//		}

//		OLED_print_variable("RSSI mean: ", Key_RSSI_Mean, 0, 26);
//		OLED_print_hexadecimal("Key:", Key_Current, 0, 36);
//		OLED_update();

		Key_New = 0;
		Key_bits = 0;
	}
}

uint8_t ReadKeyPacket(void)
{
	uint8_t bytes[] = {0x30, 0xff};

	uint8_t Rx_RSSI;

	HAL_GPIO_WritePin(ADF7242_CS_GPIO_Port, ADF7242_CS_Pin, GPIO_PIN_RESET);

	HAL_SPI_Transmit_IT(&hspi2, bytes, 2);

	HAL_SPI_Receive_IT(&hspi2, &Rx_Pkt_length, 1);
	HAL_SPI_Receive_IT(&hspi2, &Rx_Pkt_type, 1);
	HAL_SPI_Receive_IT(&hspi2, &Rx_CRC_response, 1);
	HAL_SPI_Receive_IT(&hspi2, &Rx_Dummy_byte, 1);

	HAL_SPI_Receive_IT(&hspi2, &Rx_RSSI, 1);

	HAL_GPIO_WritePin(ADF7242_CS_GPIO_Port, ADF7242_CS_Pin, GPIO_PIN_SET);

	while (ADF_SPI_READY() == 0);

	return Rx_RSSI;
}

void WriteKeyPacket(void)
{
	while (ADF_SPI_READY() == 0);

	HAL_GPIO_WritePin(ADF7242_CS_GPIO_Port, ADF7242_CS_Pin, GPIO_PIN_RESET);
	uint8_t bytes[] = {0x10, 0x05, 0x10, Rx_CRC_response};								// TYPE = 0x10 => Key packet
	HAL_SPI_Transmit_IT(&hspi2, bytes, 4);
	HAL_GPIO_WritePin(ADF7242_CS_GPIO_Port, ADF7242_CS_Pin, GPIO_PIN_SET);

	while (ADF_SPI_READY() == 0);
}

uint8_t ReadRSSI(void)
{
	uint8_t RSSI = ADF_SPI_MEM_RD(0x30C);
	return RSSI;
}

void Hamming_send(uint8_t key)
{
	uint8_t bit_0 = key & 0x01;
	uint8_t bit_1 = (key>>1) & 0x01;
	uint8_t bit_2 = (key>>2) & 0x01;
	uint8_t bit_3 = (key>>3) & 0x01;
	uint8_t bit_4 = (key>>4) & 0x01;
	uint8_t bit_5 = (key>>5) & 0x01;
	uint8_t bit_6 = (key>>6) & 0x01;
	uint8_t bit_7 = (key>>7) & 0x01;

	uint8_t parity_0 = bit_0 ^ bit_1 ^ bit_3 ^ bit_4 ^ bit_6;
	uint8_t parity_1 = bit_0 ^ bit_2 ^ bit_3 ^ bit_5 ^ bit_6;
	uint8_t parity_2 = bit_1 ^ bit_2 ^ bit_3 ^ bit_7;
	uint8_t parity_3 = bit_4 ^ bit_5 ^ bit_6 ^ bit_7;

	uint8_t code = (parity_3 * 8) + (parity_2 * 4) + (parity_1 * 2) + parity_0;

	Encryption_byte = 0xF0 | code;
}

void Hamming_check(uint8_t Tx_code)
{
	uint8_t bit_0 = Key_New & 0x01;
	uint8_t bit_1 = (Key_New>>1) & 0x01;
	uint8_t bit_2 = (Key_New>>2) & 0x01;
	uint8_t bit_3 = (Key_New>>3) & 0x01;
	uint8_t bit_4 = (Key_New>>4) & 0x01;
	uint8_t bit_5 = (Key_New>>5) & 0x01;
	uint8_t bit_6 = (Key_New>>6) & 0x01;
	uint8_t bit_7 = (Key_New>>7) & 0x01;

	uint8_t parity_0 = bit_0 ^ bit_1 ^ bit_3 ^ bit_4 ^ bit_6;
	uint8_t parity_1 = bit_0 ^ bit_2 ^ bit_3 ^ bit_5 ^ bit_6;
	uint8_t parity_2 = bit_1 ^ bit_2 ^ bit_3 ^ bit_7;
	uint8_t parity_3 = bit_4 ^ bit_5 ^ bit_6 ^ bit_7;

	uint8_t Rx_code = (parity_3 * 8) + (parity_2 * 4) + (parity_1 * 2) + parity_0;

	if (Rx_code != Tx_code)
	{
		uint8_t control_0 = 0;
		uint8_t control_1 = 0;
		uint8_t control_2 = 0;
		uint8_t control_3 = 0;

		if (parity_0 != (Tx_code & 0x01))
			control_0 = 1;
		if (parity_1 != ((Tx_code>>1) & 0x01))
			control_1 = 1;
		if (parity_2 != ((Tx_code>>2) & 0x01))
			control_2 = 1;
		if (parity_3 != ((Tx_code>>3) & 0x01))
			control_3 = 1;

		uint8_t control = (control_3 * 8) + (control_2 * 4) + (control_1 * 2) + control_0;

		// Key correction
		switch(control)
		{
			case 3:
				Key_New ^= 1UL << 0;
				break;
			case 5:
				Key_New ^= 1UL << 1;
				break;
			case 6:
				Key_New ^= 1UL << 2;
				break;
			case 7:
				Key_New ^= 1UL << 3;
				break;
			case 9:
				Key_New ^= 1UL << 4;
				break;
			case 10:
				Key_New ^= 1UL << 5;
				break;
			case 11:
				Key_New ^= 1UL << 6;
				break;
			case 12:
				Key_New ^= 1UL << 7;
				break;
		}
	}
}

void CRC_send(void)
{
	CRC_Tx_value = HAL_CRC_Calculate(&hcrc, Key_32bit_Array, 4);

	for (int i=0; i<4; i++)
	{
		CRC_Tx_bytes[3-i] = (CRC_Tx_value >> (i*8));		// LSB to MSB (0 to 3)
	}

	Encryption_byte = 0x10;
}
void CRC_check(void)
{
	uint32_t CRC_check = HAL_CRC_Calculate(&hcrc, Key_32bit_Array, 4);
	if (CRC_Rx_value == CRC_check)
	{
		Rx_CRC_response = 0x01;			// CRC correct

		// Debug
		uint32_t address = 0x08011000 + (4*(KeyCounter32bit-1));
		Write_Flash(address, Key_32bit);
	}
	else
	{
		Rx_CRC_response = 0x10;			// CRC not correct

		// Update key
		Key_32bit_Array[Old_Key_32bit_index] = Old_Key_32bit;

		// Try again
		KeyCounter32bit--;
	}
}

/********** EEPROM functions **********/
void Clear_Flash_Sector4(void)
{
     HAL_FLASH_Unlock();
     __HAL_FLASH_CLEAR_FLAG(FLASH_FLAG_EOP | FLASH_FLAG_OPERR | FLASH_FLAG_WRPERR | FLASH_FLAG_PGAERR | FLASH_FLAG_PGSERR );
     FLASH_Erase_Sector(FLASH_SECTOR_4, VOLTAGE_RANGE_3);
     HAL_FLASH_Lock();
}

void Write_Flash(uint32_t address, uint32_t data)
{
     HAL_FLASH_Unlock();
     __HAL_FLASH_CLEAR_FLAG(FLASH_FLAG_EOP | FLASH_FLAG_OPERR | FLASH_FLAG_WRPERR | FLASH_FLAG_PGAERR | FLASH_FLAG_PGSERR );
//     FLASH_Erase_Sector(FLASH_SECTOR_4, VOLTAGE_RANGE_3);
     HAL_FLASH_Program(TYPEPROGRAM_WORD, address, data);
     HAL_FLASH_Lock();
}

/* USER CODE END 4 */

void Error_Handler(void)
{
}

/************************ (C) COPYRIGHT STMicroelectronics *****END OF FILE****/
